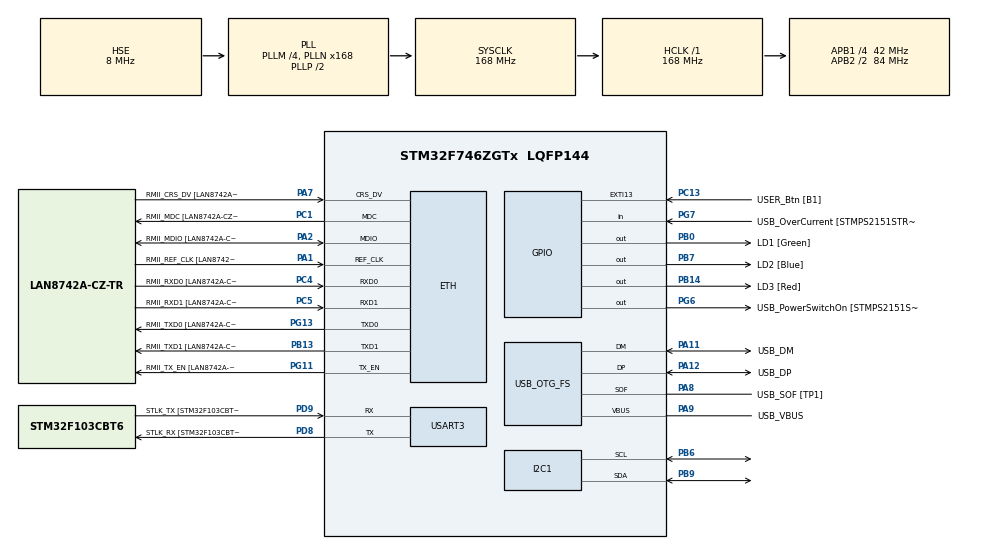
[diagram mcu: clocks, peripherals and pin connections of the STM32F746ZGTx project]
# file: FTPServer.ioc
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Mcu.Family=STM32F7
VP_SYS_VS_tim6.Mode=TIM6
RCC.CortexFreq_Value=168000000
PG6.Signal=GPIO_Output
FATFS._USE_LFN=2
NVIC.TIM6_DAC_IRQn=true\:0\:0\:false\:false\:true\:false\:false
PB14.GPIO_Label=LD3 [Red]
PG6.GPIO_Label=USB_PowerSwitchOn [STMPS2151STR_EN]
PA14.GPIO_Label=TCK
RCC.SYSCLKSourceVirtual=RCC_SYSCLKSOURCE_PLLCLK
PA11.Mode=Host_Only
PB0.GPIO_Label=LD1 [Green]
PC14/OSC32_IN.Mode=LSE-External-Oscillator
PC5.Mode=RMII
PC13.GPIO_Label=USER_Btn [B1]
PB13.GPIO_Label=RMII_TXD1 [LAN8742A-CZ-TR_TXD1]
PB13.Signal=ETH_TXD1
PG13.Signal=ETH_TXD0
PD9.Mode=Asynchronous
PG11.Signal=ETH_TX_EN
RCC.SYSCLKSource=RCC_SYSCLKSOURCE_PLLCLK
ProjectManager.StackSize=0x400
USART3.VirtualMode-Asynchronous=VM_ASYNC
PA12.Signal=USB_OTG_FS_DP
FATFS._MAX_LFN=32
ETH.PHY_Value=0
PH0/OSC_IN.Mode=HSE-External-Clock-Source
RCC.HCLKFreq_Value=168000000
RCC.APB2TimFreq_Value=168000000
PB6.Signal=I2C1_SCL
PH1/OSC_OUT.Signal=RCC_OSC_OUT
PB6.Mode=I2C
PD8.Signal=USART3_TX
USB_HOST0.BSP.ip=GPIO
RCC.AHBFreq_Value=168000000
NVIC.ETH_IRQn=true\:5\:0\:false\:false\:true\:true\:false
RCC.HSE_VALUE=8000000
USB_OTG_FS.phy_itface=HCD_PHY_EMBEDDED
RCC.PLLMUL=RCC_PLL_MUL9
PC4.GPIO_Label=RMII_RXD0 [LAN8742A-CZ-TR_RXD0]
PA14.Mode=Serial_Wire
PA10.GPIO_Label=USB_ID
PB7.Signal=GPIO_Output
PA8.Signal=USB_OTG_FS_SOF
PG13.Mode=RMII
ETH.PHY_Name=LAN8742A_PHY_ADDRESS
PH1/OSC_OUT.Mode=HSE-External-Clock-Source
FREERTOS.configTOTAL_HEAP_SIZE=32768
VP_FREERTOS_VS_ENABLE.Mode=Enabled
PB7.GPIO_Label=LD2 [Blue]
USB_HOST0.BSP.i2caddr=0
Mcu.Package=LQFP144
PB9.Signal=I2C1_SDA
NVIC.TimeBase=TIM6_DAC_IRQn
PC14/OSC32_IN.Signal=RCC_OSC32_IN
NVIC.OTG_FS_IRQn=true\:5\:0\:false\:false\:true\:true\:false
PA2.GPIO_Label=RMII_MDIO [LAN8742A-CZ-TR_MDIO]
NVIC.TimeBaseIP=TIM6
PA10.Signal=USB_OTG_FS_ID
USB_OTG_FS.VirtualMode=Host_Only
USB_HOST0.BSP.name=Drive_VBUS_FS
RCC.APB2CLKDivider=RCC_HCLK_DIV2
RCC.APB1TimFreq_Value=84000000
PG11.GPIO_Label=RMII_TX_EN [LAN8742A-CZ-TR_TXEN]
PC5.Signal=ETH_RXD1
PB13.Mode=RMII
PC4.Mode=RMII
PB3.GPIO_Label=SW0
FREERTOS.Tasks01=defaultTask,0,1024,StartDefaultTask,Default,NULL,Dynamic,NULL,NULL
PA7.Mode=RMII
PG7.Signal=GPIO_Input
PD9.GPIO_Label=STLK_TX [STM32F103CBT6_PA2]
PC13.Signal=GPXTI13
PA9.GPIO_Label=USB_VBUS
VP_USB_HOST_VS_USB_HOST_MSC_FS.Mode=MSC_FS
USB_HOST0.BSP.solution=PG6
PC4.Signal=ETH_RXD0
ETH.MACAddr=00\:80\:E1\:00\:E0\:A0
USB_HOST.BSP.number=1
PA11.GPIO_Label=USB_DM
PD9.Signal=USART3_RX
RCC.APB1CLKDivider=RCC_HCLK_DIV4
PG13.GPIO_Label=RMII_TXD0 [LAN8742A-CZ-TR_TXD0]
USB_HOST.USBH_HandleTypeDef-MSC_FS=hUsbHostFS
ETH.PhyAddress=0
PA12.GPIO_Label=USB_DP
VP_LWIP_VS_Enabled.Mode=Enabled
PD8.GPIO_Label=STLK_RX [STM32F103CBT6_PA3]
USB_HOST0.BSP.STBoard=false
PA13.Signal=SYS_JTMS-SWDIO
PA9.Mode=Activate_VBUS
PA8.GPIO_Label=USB_SOF [TP1]
ProjectManager.TargetToolchain=STM32CubeIDE
PB9.Mode=I2C
PA9.Signal=USB_OTG_FS_VBUS
USB_HOST.USBH_DEBUG_LEVEL-MSC_FS=3
I2C1.Timing=0x00A0A3F7
RCC.USBFreq_Value=48000000
PD8.Mode=Asynchronous
PA1.Signal=ETH_REF_CLK
PB14.Signal=GPIO_Output
board=NUCLEO-F746ZG
RCC.VCOOutputFreq_Value=336000000
USB_HOST.VirtualModeFS=Msc
PH0/OSC_IN.Signal=RCC_OSC_IN
RCC.APB2Freq_Value=84000000
USB_HOST0.BSP.api=Unknown
PA1.Mode=RMII
RCC.PRESCALERUSB=RCC_USBCLKSOURCE_PLL_DIV1_5
PG7.GPIO_Label=USB_OverCurrent [STMPS2151STR_FAULT]
PA1.GPIO_Label=RMII_REF_CLK [LAN8742A-CZ-TR_REFCLK0]
PC1.GPIO_Label=RMII_MDC [LAN8742A-CZ-TR_MDC]
PA13.Mode=Serial_Wire
Mcu.Name=STM32F746ZGTx
PA2.Signal=ETH_MDIO
PA13.GPIO_Label=TMS
RCC.48MHZClocksFreq_Value=24000000
PB3.Signal=SYS_JTDO-SWO
RCC.SYSCLKFreq_VALUE=168000000
ETH.MediaInterface=ETH_MEDIA_INTERFACE_RMII
PA7.GPIO_Label=RMII_CRS_DV [LAN8742A-CZ-TR_CRS_DV]
PA12.Mode=Host_Only
PC5.GPIO_Label=RMII_RXD1 [LAN8742A-CZ-TR_RXD1]
PC15/OSC32_OUT.Mode=LSE-External-Oscillator
PG11.Mode=RMII
PA11.Signal=USB_OTG_FS_DM
PA14.Signal=SYS_JTCK-SWCLK
ProjectManager.HeapSize=0x200
LWIP.Version=v2.0.3_Cube
VP_FATFS_VS_USB.Mode=USB
RCC.HSI_VALUE=16000000
PH0/OSC_IN.GPIO_Label=MCO [STM32F103CBT6_PA8]
RCC.PLLQ=7
NVIC.PriorityGroup=NVIC_PRIORITYGROUP_4
RCC.PLLM=4
RCC.PLLN=168
PA2.Mode=RMII
PC15/OSC32_OUT.Signal=RCC_OSC32_OUT
PA8.Mode=Activate_SOF_FS
RCC.APB1Freq_Value=42000000
PB0.Signal=GPIO_Output
USB_HOST0.BSP.mode=Output
PC1.Signal=ETH_MDC
PC1.Mode=RMII
PA7.Signal=ETH_CRS_DV
USB_HOST0.BSP.instance=PG6

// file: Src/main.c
/**
  ******************************************************************************
  * @file           : main.c
  * @brief          : Main program body
  ******************************************************************************
  * This notice applies to any and all portions of this file
  * that are not between comment pairs USER CODE BEGIN and
  * USER CODE END. Other portions of this file, whether
  * inserted by the user or by software development tools
  * are owned by their respective copyright owners.
  *
  * Copyright (c) 2021 STMicroelectronics International N.V.
  * All rights reserved.
  *
  * Redistribution and use in source and binary forms, with or without
  * modification, are permitted, provided that the following conditions are met:
  *
  * 1. Redistribution of source code must retain the above copyright notice,
  *    this list of conditions and the following disclaimer.
  * 2. Redistributions in binary form must reproduce the above copyright notice,
  *    this list of conditions and the following disclaimer in the documentation
  *    and/or other materials provided with the distribution.
  * 3. Neither the name of STMicroelectronics nor the names of other
  *    contributors to this software may be used to endorse or promote products
  *    derived from this software without specific written permission.
  * 4. This software, including modifications and/or derivative works of this
  *    software, must execute solely and exclusively on microcontroller or
  *    microprocessor devices manufactured by or for STMicroelectronics.
  * 5. Redistribution and use of this software other than as permitted under
  *    this license is void and will automatically terminate your rights under
  *    this license.
  *
  * THIS SOFTWARE IS PROVIDED BY STMICROELECTRONICS AND CONTRIBUTORS "AS IS"
  * AND ANY EXPRESS, IMPLIED OR STATUTORY WARRANTIES, INCLUDING, BUT NOT
  * LIMITED TO, THE IMPLIED WARRANTIES OF MERCHANTABILITY, FITNESS FOR A
  * PARTICULAR PURPOSE AND NON-INFRINGEMENT OF THIRD PARTY INTELLECTUAL PROPERTY
  * RIGHTS ARE DISCLAIMED TO THE FULLEST EXTENT PERMITTED BY LAW. IN NO EVENT
  * SHALL STMICROELECTRONICS OR CONTRIBUTORS BE LIABLE FOR ANY DIRECT, INDIRECT,
  * INCIDENTAL, SPECIAL, EXEMPLARY, OR CONSEQUENTIAL DAMAGES (INCLUDING, BUT NOT
  * LIMITED TO, PROCUREMENT OF SUBSTITUTE GOODS OR SERVICES; LOSS OF USE, DATA,
  * OR PROFITS; OR BUSINESS INTERRUPTION) HOWEVER CAUSED AND ON ANY THEORY OF
  * LIABILITY, WHETHER IN CONTRACT, STRICT LIABILITY, OR TORT (INCLUDING
  * NEGLIGENCE OR OTHERWISE) ARISING IN ANY WAY OUT OF THE USE OF THIS SOFTWARE,
  * EVEN IF ADVISED OF THE POSSIBILITY OF SUCH DAMAGE.
  *
  ******************************************************************************
  */
#include "main.h"
#include "stm32f7xx_hal.h"
#include "cmsis_os.h"
#include "fatfs.h"
#include "lwip.h"
#include "usb_host.h"

/* USER CODE BEGIN Includes */

#include "dbgu.h"
#include "term_io.h"
#include "ansi.h"
#include "usbh_platform.h"
#include "lwip/api.h"
#include "ftp_server.h"
#include "mpu6050.h"

/* USER CODE END Includes */

I2C_HandleTypeDef hi2c1;

UART_HandleTypeDef huart3;

MPU6050_t MPU6050;

osThreadId defaultTaskHandle;

osThreadId accelTaskHandle;

/* USER CODE BEGIN PV */
/* Private variables ---------------------------------------------------------*/

/* USER CODE END PV */

void SystemClock_Config(void);
static void MX_GPIO_Init(void);
static void MX_USART3_UART_Init(void);
static void MX_I2C1_Init(void);
void StartDefaultTask(void const * argument);

/* USER CODE BEGIN PFP */
/* Private function prototypes -----------------------------------------------*/
void StartAccelTask(void const * argument);

/* USER CODE END PFP */

/* USER CODE BEGIN 0 */

extern ApplicationTypeDef Appli_state;
extern struct netif gnetif;
/* USER CODE END 0 */

int main(void)
{

  /* MCU Configuration----------------------------------------------------------*/

  /* Reset of all peripherals, Initializes the Flash interface and the Systick. */
  HAL_Init();

  /* Configure the system clock */
  SystemClock_Config();

  /* Initialize all configured peripherals */
  MX_GPIO_Init();
  MX_USART3_UART_Init();
  MX_I2C1_Init();
  /* USER CODE BEGIN 2 */

  debug_init(&huart3);
  xprintf(ANSI_BG_BLUE "Nucleo-144 project" ANSI_BG_DEFAULT "\r\n");
  printf("Zwykly printf tez dziala\r\n");

  while (MPU6050_Init(&hi2c1) == 1);

  /* USER CODE END 2 */

  /* Create the thread(s) */
  /* definition and creation of defaultTask */
  osThreadDef(defaultTask, StartDefaultTask, osPriorityNormal, 0, 1024);
  defaultTaskHandle = osThreadCreate(osThread(defaultTask), NULL);

  /* USER CODE BEGIN RTOS_THREADS */
  /* add threads, ... */
  osThreadDef(accelTask, StartAccelTask, 2, 0, 1024);
  accelTaskHandle = osThreadCreate(osThread(accelTask), NULL);
  /* USER CODE END RTOS_THREADS */

  /* Start scheduler */
  osKernelStart();

  /* We should never get here as control is now taken by the scheduler */

  /* Infinite loop */
  while (1)
  {

  }

}

void SystemClock_Config(void)
{

  RCC_OscInitTypeDef RCC_OscInitStruct;
  RCC_ClkInitTypeDef RCC_ClkInitStruct;
  RCC_PeriphCLKInitTypeDef PeriphClkInitStruct;

    /**Configure the main internal regulator output voltage
    */
  __HAL_RCC_PWR_CLK_ENABLE();

  __HAL_PWR_VOLTAGESCALING_CONFIG(PWR_REGULATOR_VOLTAGE_SCALE2);

    /**Initializes the CPU, AHB and APB busses clocks
    */
  RCC_OscInitStruct.OscillatorType = RCC_OSCILLATORTYPE_HSE;
  RCC_OscInitStruct.HSEState = RCC_HSE_BYPASS;
  RCC_OscInitStruct.PLL.PLLState = RCC_PLL_ON;
  RCC_OscInitStruct.PLL.PLLSource = RCC_PLLSOURCE_HSE;
  RCC_OscInitStruct.PLL.PLLM = 4;
  RCC_OscInitStruct.PLL.PLLN = 168;
  RCC_OscInitStruct.PLL.PLLP = RCC_PLLP_DIV2;
  RCC_OscInitStruct.PLL.PLLQ = 7;
  if (HAL_RCC_OscConfig(&RCC_OscInitStruct) != HAL_OK)
  {
    _Error_Handler(__FILE__, __LINE__);
  }

    /**Initializes the CPU, AHB and APB busses clocks
    */
  RCC_ClkInitStruct.ClockType = RCC_CLOCKTYPE_HCLK|RCC_CLOCKTYPE_SYSCLK
                              |RCC_CLOCKTYPE_PCLK1|RCC_CLOCKTYPE_PCLK2;
  RCC_ClkInitStruct.SYSCLKSource = RCC_SYSCLKSOURCE_PLLCLK;
  RCC_ClkInitStruct.AHBCLKDivider = RCC_SYSCLK_DIV1;
  RCC_ClkInitStruct.APB1CLKDivider = RCC_HCLK_DIV4;
  RCC_ClkInitStruct.APB2CLKDivider = RCC_HCLK_DIV2;

  if (HAL_RCC_ClockConfig(&RCC_ClkInitStruct, FLASH_LATENCY_5) != HAL_OK)
  {
    _Error_Handler(__FILE__, __LINE__);
  }

  PeriphClkInitStruct.PeriphClockSelection = RCC_PERIPHCLK_USART3|RCC_PERIPHCLK_I2C1
                              |RCC_PERIPHCLK_CLK48;
  PeriphClkInitStruct.Usart3ClockSelection = RCC_USART3CLKSOURCE_PCLK1;
  PeriphClkInitStruct.I2c1ClockSelection = RCC_I2C1CLKSOURCE_PCLK1;
  PeriphClkInitStruct.Clk48ClockSelection = RCC_CLK48SOURCE_PLL;
  if (HAL_RCCEx_PeriphCLKConfig(&PeriphClkInitStruct) != HAL_OK)
  {
    _Error_Handler(__FILE__, __LINE__);
  }

    /**Configure the Systick interrupt time
    */
  HAL_SYSTICK_Config(HAL_RCC_GetHCLKFreq()/1000);

    /**Configure the Systick
    */
  HAL_SYSTICK_CLKSourceConfig(SYSTICK_CLKSOURCE_HCLK);

  /* SysTick_IRQn interrupt configuration */
  HAL_NVIC_SetPriority(SysTick_IRQn, 15, 0);
}

/* I2C1 init function */
static void MX_I2C1_Init(void)
{

  hi2c1.Instance = I2C1;
  hi2c1.Init.Timing = 0x00A0A3F7;
  hi2c1.Init.OwnAddress1 = 0;
  hi2c1.Init.AddressingMode = I2C_ADDRESSINGMODE_7BIT;
  hi2c1.Init.DualAddressMode = I2C_DUALADDRESS_DISABLE;
  hi2c1.Init.OwnAddress2 = 0;
  hi2c1.Init.OwnAddress2Masks = I2C_OA2_NOMASK;
  hi2c1.Init.GeneralCallMode = I2C_GENERALCALL_DISABLE;
  hi2c1.Init.NoStretchMode = I2C_NOSTRETCH_DISABLE;
  if (HAL_I2C_Init(&hi2c1) != HAL_OK)
  {
    _Error_Handler(__FILE__, __LINE__);
  }

    /**Configure Analogue filter
    */
  if (HAL_I2CEx_ConfigAnalogFilter(&hi2c1, I2C_ANALOGFILTER_ENABLE) != HAL_OK)
  {
    _Error_Handler(__FILE__, __LINE__);
  }

    /**Configure Digital filter
    */
  if (HAL_I2CEx_ConfigDigitalFilter(&hi2c1, 0) != HAL_OK)
  {
    _Error_Handler(__FILE__, __LINE__);
  }

}

/* USART3 init function */
static void MX_USART3_UART_Init(void)
{

  huart3.Instance = USART3;
  huart3.Init.BaudRate = 115200;
  huart3.Init.WordLength = UART_WORDLENGTH_8B;
  huart3.Init.StopBits = UART_STOPBITS_1;
  huart3.Init.Parity = UART_PARITY_NONE;
  huart3.Init.Mode = UART_MODE_TX_RX;
  huart3.Init.HwFlowCtl = UART_HWCONTROL_NONE;
  huart3.Init.OverSampling = UART_OVERSAMPLING_16;
  huart3.Init.OneBitSampling = UART_ONE_BIT_SAMPLE_DISABLE;
  huart3.AdvancedInit.AdvFeatureInit = UART_ADVFEATURE_NO_INIT;
  if (HAL_UART_Init(&huart3) != HAL_OK)
  {
    _Error_Handler(__FILE__, __LINE__);
  }

}

/** Configure pins as
        * Analog
        * Input
        * Output
        * EVENT_OUT
        * EXTI
*/
static void MX_GPIO_Init(void)
{

  GPIO_InitTypeDef GPIO_InitStruct;

  /* GPIO Ports Clock Enable */
  __HAL_RCC_GPIOC_CLK_ENABLE();
  __HAL_RCC_GPIOH_CLK_ENABLE();
  __HAL_RCC_GPIOA_CLK_ENABLE();
  __HAL_RCC_GPIOB_CLK_ENABLE();
  __HAL_RCC_GPIOD_CLK_ENABLE();
  __HAL_RCC_GPIOG_CLK_ENABLE();

  /*Configure GPIO pin Output Level */
  HAL_GPIO_WritePin(GPIOB, LD1_Pin|LD3_Pin|LD2_Pin, GPIO_PIN_RESET);

  /*Configure GPIO pin Output Level */
  HAL_GPIO_WritePin(USB_PowerSwitchOn_GPIO_Port, USB_PowerSwitchOn_Pin, GPIO_PIN_RESET);

  /*Configure GPIO pin : USER_Btn_Pin */
  GPIO_InitStruct.Pin = USER_Btn_Pin;
  GPIO_InitStruct.Mode = GPIO_MODE_IT_RISING;
  GPIO_InitStruct.Pull = GPIO_NOPULL;
  HAL_GPIO_Init(USER_Btn_GPIO_Port, &GPIO_InitStruct);

  /*Configure GPIO pins : LD1_Pin LD3_Pin LD2_Pin */
  GPIO_InitStruct.Pin = LD1_Pin|LD3_Pin|LD2_Pin;
  GPIO_InitStruct.Mode = GPIO_MODE_OUTPUT_PP;
  GPIO_InitStruct.Pull = GPIO_NOPULL;
  GPIO_InitStruct.Speed = GPIO_SPEED_FREQ_LOW;
  HAL_GPIO_Init(GPIOB, &GPIO_InitStruct);

  /*Configure GPIO pin : USB_PowerSwitchOn_Pin */
  GPIO_InitStruct.Pin = USB_PowerSwitchOn_Pin;
  GPIO_InitStruct.Mode = GPIO_MODE_OUTPUT_PP;
  GPIO_InitStruct.Pull = GPIO_NOPULL;
  GPIO_InitStruct.Speed = GPIO_SPEED_FREQ_LOW;
  HAL_GPIO_Init(USB_PowerSwitchOn_GPIO_Port, &GPIO_InitStruct);

  /*Configure GPIO pin : USB_OverCurrent_Pin */
  GPIO_InitStruct.Pin = USB_OverCurrent_Pin;
  GPIO_InitStruct.Mode = GPIO_MODE_INPUT;
  GPIO_InitStruct.Pull = GPIO_NOPULL;
  HAL_GPIO_Init(USB_OverCurrent_GPIO_Port, &GPIO_InitStruct);

}

/* USER CODE BEGIN 4 */
void displayOwnIp(void)
{
  xprintf(
      "My IP: %d.%d.%d.%d\r\n",
      ip4_addr1_16(netif_ip4_addr(&gnetif)),
      ip4_addr2_16(netif_ip4_addr(&gnetif)),
      ip4_addr3_16(netif_ip4_addr(&gnetif)),
      ip4_addr4_16(netif_ip4_addr(&gnetif)));
}

void StartAccelTask(void const * argument)
{
  while(1)
  {
	MPU6050_Read_All(&hi2c1, &MPU6050);
	if(MPU6050.Ax > 0.4 || MPU6050.Ay > 0.4 || MPU6050.Az - 1 > 0.4)
	{
		xprintf("Deleting public key \r\n");
	}
	vTaskDelay(100);
  }

}

/* USER CODE END 4 */

/* StartDefaultTask function */
void StartDefaultTask(void const * argument)
{
  /* init code for USB_HOST */
  MX_USB_HOST_Init();

  /* init code for FATFS */
  MX_FATFS_Init();

  /* init code for LWIP */
  MX_LWIP_Init();

  /* USER CODE BEGIN 5 */
  MX_DriverVbusFS(0); //wlacza zasilanie urzadzenia USB
  xprintf("waiting for USB device...");
  do
  {
    xprintf(".");
    vTaskDelay(100);
  } while (Appli_state != APPLICATION_READY);
  xprintf("USB device ready!\r\n");

  xprintf("Obtaining address with DHCP...\r\n");
  struct dhcp *dhcp = netif_dhcp_data(&gnetif);
  do
  {
    vTaskDelay(250);
  } while (dhcp->state != 0x0A);
  xprintf("DHCP bound\r\n");
  displayOwnIp();
  osThreadDef(netconn_thread, ftp_server_netconn_thread, osPriorityNormal, 0, 1024);
  osThreadCreate(osThread(netconn_thread), NULL);

  FATFS fs;
  FRESULT res;
  res = f_mount(&fs, "", 1);

  if (res == FR_OK){
    printf("Volume ok\r\n");
  }

  for (;;)
  {
    osDelay(10);
    char key = inkey();
    switch (key)
    {
    case 'w':
    {
      xprintf("write test\r\n");
      FRESULT res;
      UINT bw;
      FIL file;
      const char *text = "Linijka tekstu!\n";
      xprintf("f_open... ");
      res = f_open(&file, "0:/test.txt", FA_WRITE | FA_OPEN_APPEND);
      xprintf("res=%d\r\n", res);
      if (res)
        break;
      xprintf("f_write... ");
      res = f_write(&file, text, strlen(text), &bw);
      xprintf("res=%d, bw=%d\r\n", res, bw);
      f_close(&file);
      break;
    }
    case 'r':
    {
      xprintf("read test!\r\n");
      FIL file;
      FRESULT res = f_open(&file, "0:/test.txt", FA_READ);
      xprintf("f_open res=%d\r\n", res);
      if (res)
        break;
      const uint32_t BUF_SIZE = 64;
      char buf[BUF_SIZE];
      UINT br;
      xprintf("reading file contents:\r\n");
      do
      {
        res = f_read(&file, buf, BUF_SIZE, &br);
        if ((res == FR_OK) && (br))
        {
          xprintf("chunk:\r\n");
          debug_dump(buf, br);
        }
        else
        {
          xprintf("f_read res=%d\r\n", res);
          break;
        }
      } while (br > 0);
      f_close(&file);
      break;
    }
    }
  }

  /* USER CODE END 5 */
}

void HAL_TIM_PeriodElapsedCallback(TIM_HandleTypeDef *htim)
{
  if (htim->Instance == TIM6) {
    HAL_IncTick();
  }
}

void _Error_Handler(char *file, int line)
{
  while (1)
  {
  }
}

/************************ (C) COPYRIGHT STMicroelectronics *****END OF FILE****/
